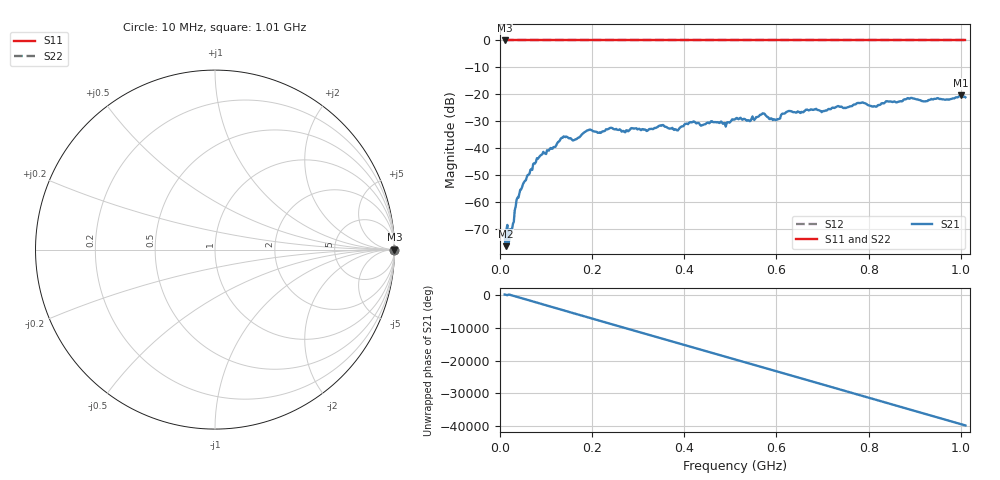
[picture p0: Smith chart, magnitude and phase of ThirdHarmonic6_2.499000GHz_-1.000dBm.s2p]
! 8/17/2025 4:46:59 AM
! C:\ANRITSUVNA\TEMP\TEMP.S2P
! CHANNEL.1
! TR.MEASUREMENT
! RAW.DATA
! RF.CORRECTION.OFF
! AVERAGING.OFF
! IF.BANDWIDTH: 5KHZ
! SWEEPTYPE:  FREQ.SWEEP(Linear)
! Reference Plane Port Info
! PORT:  PORT1  PORT2
! DISTANCE:  0  m  0  m
! TIME:  0  s  0  s
! PHASE.OFFSET:  0  deg.  0  deg.
! LOSS:  0  dB  0  dB
! REF.LOSS:  0  dB  0  dB
! REF.FREQ:  0  Hz  0  Hz
! Power Info
! POWER:  -20  dBm  -20  dBm
! EFF.POWER:  -20  dBm  -20  dBm
! SOURCE.ATTEN:  0  dB  0  dB
! TEST.ATTEN:  0  dB  0  dB
# GHZ S RI R 50.0
! FREQ.GHZ  S11RE  S11IM  S21RE  S21IM  S12RE  S12IM  S22RE  S22IM
!; PortSelection: Port_12
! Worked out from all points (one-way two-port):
!   501 points, 10 MHz to 1.01 GHz, reference 50 ohm
!   highest |S21| = -20.39 dB at 1 GHz (marker M1); lowest = -76.2 dB at 12 MHz (marker M2)
!   lowest |S11| = 0.0 dB at 10 MHz (marker M3)
!   |S11| at or under -10 dB: nowhere
!   |S22| runs from 0.0 to 0.0 dB; largest |S21 - S12| = 1.1
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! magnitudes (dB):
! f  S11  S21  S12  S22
! 10 MHz  0.0  -71.9  0.0  0.0
! 12 MHz  0.0  -76.2  0.0  0.0
! 22 MHz  0.0  -69.9  0.0  0.0
! 40 MHz  0.0  -58.3  0.0  0.0
! 84 MHz  0.0  -43.5  0.0  0.0
! 136 MHz  0.0  -36.1  0.0  0.0
! 162 MHz  0.0  -36.8  0.0  0.0
! 178 MHz  0.0  -34.8  0.0  0.0
! 194 MHz  0.0  -33.0  0.0  0.0
! 344 MHz  0.0  -31.8  0.0  0.0
! 382 MHz  0.0  -33.0  0.0  0.0
! 416 MHz  0.0  -30.4  0.0  0.0
! 488 MHz  0.0  -30.6  0.0  0.0
! 510 MHz  0.0  -29.2  0.0  0.0
! 540 MHz  0.0  -29.6  0.0  0.0
! 570 MHz  0.0  -27.0  0.0  0.0
! 602 MHz  0.0  -29.1  0.0  0.0
! 626 MHz  0.0  -26.2  0.0  0.0
! 678 MHz  0.0  -25.7  0.0  0.0
! 844 MHz  0.0  -22.6  0.0  0.0
! 1 GHz  0.0  -20.4  0.0  0.0
! 1.01 GHz  0.0  -21.1  0.0  0.0
